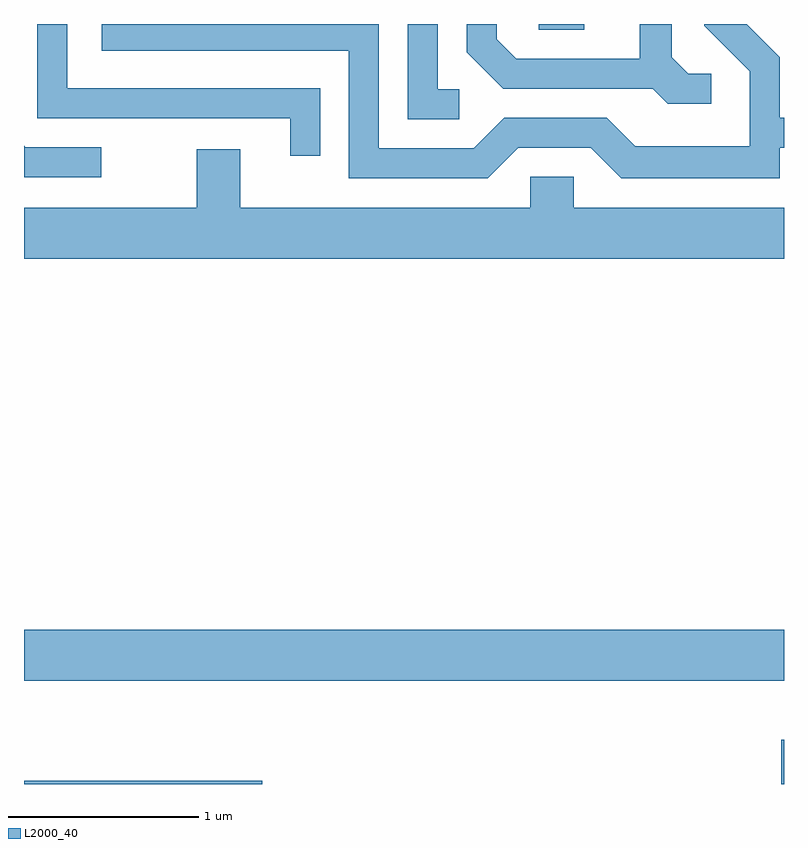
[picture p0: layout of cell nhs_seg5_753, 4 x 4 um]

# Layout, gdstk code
import gdstk
lib = gdstk.Library(unit=1e-6, precision=1e-09)
def R(c, l, rs):  # rectangles x0, y0, x1, y1
    for r in rs: c.add(gdstk.rectangle(r[:2], r[2:], *l))
def P(c, l, *ps):  # polygons
    for p in ps: c.add(gdstk.Polygon(p, *l))
L2000_40 = (2000, 40)

nhs_seg5_753 = lib.new_cell('nhs_seg5_753')
R(nhs_seg5_753, L2000_40, [(207.611,1414.072,208.864,1414.089), (211.596,1414.072,211.611,1414.304), (207.611,1414.616,211.611,1414.884), (210.321,1418.041,210.559,1418.072)])
P(nhs_seg5_753, L2000_40, [(211.228,1417.809),(211.107,1417.809),(211.019,1417.897),(211.019,1418.072),(210.851,1418.072),(210.851,1417.889),(210.202,1417.889),(210.099,1417.992),(210.099,1418.072),(209.941,1418.072),(209.941,1417.924),(210.134,1417.731),(210.919,1417.731),(210.999,1417.651),(211.228,1417.651)],
  [(209.169,1417.734),(207.839,1417.734),(207.839,1418.072),(207.681,1418.072),(207.681,1417.576),(209.011,1417.576),(209.011,1417.378),(209.169,1417.378)],
  [(209.903,1417.729),(209.789,1417.729),(209.789,1418.072),(209.631,1418.072),(209.631,1417.571),(209.903,1417.571)],
  [(210.212,1417.421),(210.594,1417.421),(210.754,1417.261),(211.589,1417.261),(211.589,1417.421),(211.611,1417.421),(211.611,1417.579),(211.589,1417.579),(211.589,1417.897),(211.414,1418.072),(211.191,1418.072),(211.191,1418.064),(211.431,1417.824),(211.431,1417.429),(210.827,1417.429),(210.677,1417.579),(210.139,1417.579),(209.979,1417.419),(209.479,1417.419),(209.479,1418.072),(208.021,1418.072),(208.021,1417.931),(209.321,1417.931),(209.321,1417.261),(210.052,1417.261)],
  [(208.018,1417.424),(207.617,1417.424),(207.611,1417.43),(207.611,1417.266),(208.018,1417.266)],
  [(211.611,1417.104),(210.504,1417.104),(210.504,1417.269),(210.276,1417.269),(210.276,1417.104),(208.749,1417.104),(208.749,1417.414),(208.521,1417.414),(208.521,1417.104),(207.611,1417.104),(207.611,1416.836),(211.611,1416.836)])

lib.write_gds('nhs_seg5_753.gds')
